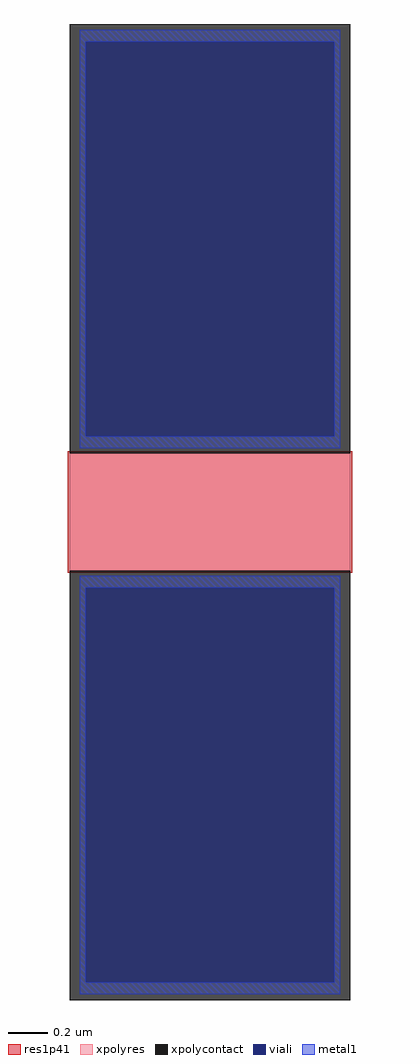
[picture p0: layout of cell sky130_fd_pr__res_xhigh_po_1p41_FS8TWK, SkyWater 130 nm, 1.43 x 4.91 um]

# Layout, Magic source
magic
tech sky130A
magscale 1 2
<< xpolycontact >>
rect -141 59 141 491
rect -141 -491 141 -59
<< xpolyres >>
rect -141 -59 141 59
<< viali >>
rect -125 76 125 473
rect -125 -473 125 -76
<< metal1 >>
rect -131 473 131 485
rect -131 76 -125 473
rect 125 76 131 473
rect -131 64 131 76
rect -131 -76 131 -64
rect -131 -473 -125 -76
rect 125 -473 131 -76
rect -131 -485 131 -473
<< res1p41 >>
rect -143 -61 143 61
<< properties >>
string gencell sky130_fd_pr__res_xhigh_po_1p41
string parameters w 1.410 l 0.59 m 1 nx 1 wmin 1.410 lmin 0.50 rho 2000 val 1.007k dummy 0 dw 0.0 term 120 sterm 0.0 caplen 0 wmax 1.410 guard 0 glc 0 grc 0 gtc 0 gbc 0 compatible {sky130_fd_pr__res_xhigh_po_0p35  sky130_fd_pr__res_xhigh_po_0p69 sky130_fd_pr__res_xhigh_po_1p41  sky130_fd_pr__res_xhigh_po_2p85 sky130_fd_pr__res_xhigh_po_5p73} full_metal 0 vias 1 viagb 0 viagt 0 viagl 0 viagr 0
string library sky130
<< end >>
